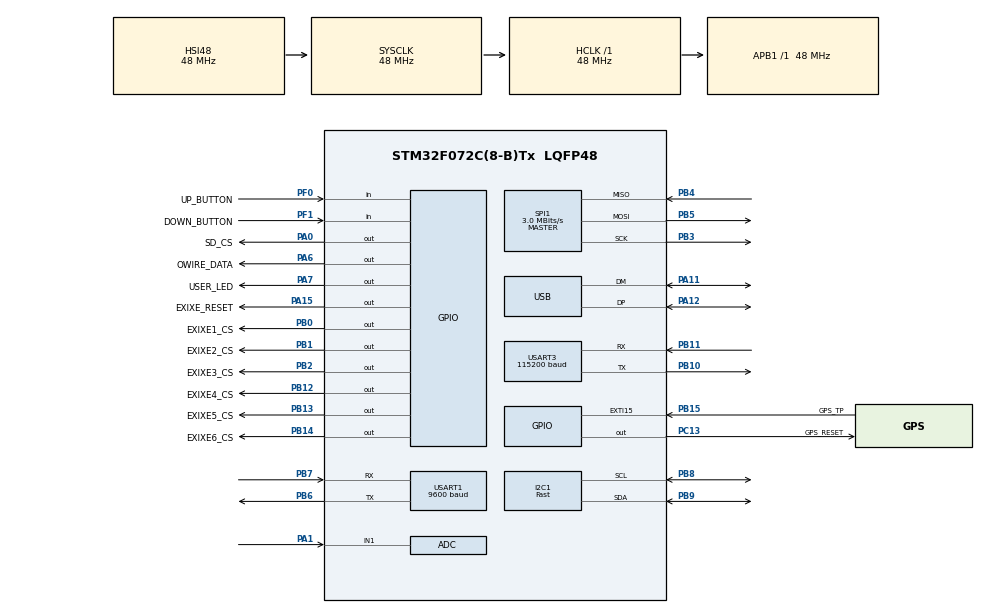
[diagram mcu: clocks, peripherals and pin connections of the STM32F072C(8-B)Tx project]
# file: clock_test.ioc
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ADC.ClockPrescaler=ADC_CLOCK_ASYNC_DIV1
ADC.ContinuousConvMode=DISABLE
ADC.DMAContinuousRequests=DISABLE
ADC.DataAlign=ADC_DATAALIGN_RIGHT
ADC.DiscontinuousConvMode=DISABLE
ADC.EOCSelection=ADC_EOC_SINGLE_CONV
ADC.EnableAnalogWatchDog=false
ADC.ExternalTrigConv=ADC_SOFTWARE_START
ADC.ExternalTrigConvEdge=ADC_EXTERNALTRIGCONVEDGE_NONE
ADC.LowPowerAutoPowerOff=DISABLE
ADC.LowPowerAutoWait=DISABLE
ADC.Overrun=ADC_OVR_DATA_PRESERVED
ADC.Resolution=ADC_RESOLUTION_12B
ADC.SamplingTime=ADC_SAMPLETIME_239CYCLES_5
ADC.ScanConvMode=ADC_SCAN_DIRECTION_FORWARD
FREERTOS.HEAP_NUMBER=1
FREERTOS.Tasks01=defaultTask,-3,64,StartDefaultTask,Default,NULL,Dynamic,NULL,NULL
FREERTOS.configENABLE_BACKWARD_COMPATIBILITY=0
FREERTOS.configMINIMAL_STACK_SIZE=64
FREERTOS.configTOTAL_HEAP_SIZE=4096
FREERTOS.configUSE_MUTEXES=0
FREERTOS.configUSE_TASK_NOTIFICATIONS=0
I2C1.I2C_Speed_Mode=I2C_Fast
I2C1.Timing=0x2010091A
IWDG.Prescaler=IWDG_PRESCALER_32
IWDG.Reload=2048
IWDG.Window=2048
Mcu.Family=STM32F0
Mcu.Name=STM32F072C(8-B)Tx
Mcu.Package=LQFP48
NVIC.EXTI4_15_IRQn=true\:3\:0\:false\:false\:true\:true
NVIC.TIM7_IRQn=true\:0\:0\:false\:false\:true\:false
NVIC.TimeBase=TIM7_IRQn
NVIC.TimeBaseIP=TIM7
NVIC.USART1_IRQn=true\:3\:0\:false\:false\:true\:true
NVIC.USB_IRQn=true\:3\:0\:false\:false\:true\:true
PA0.GPIO_Label=SD_CS
PA0.GPIO_ModeDefaultOutputPP=GPIO_MODE_OUTPUT_PP
PA0.PinState=GPIO_PIN_SET
PA0.Signal=GPIO_Output
PA1.Mode=IN1
PA1.Signal=ADC_IN1
PA11.Mode=Device
PA11.Signal=USB_DM
PA12.Mode=Device
PA12.Signal=USB_DP
PA13.Mode=Serial_Wire
PA13.Signal=SYS_SWDIO
PA14.Mode=Serial_Wire
PA14.Signal=SYS_SWCLK
PA15.GPIO_Label=EXIXE_RESET
PA15.GPIO_ModeDefaultOutputPP=GPIO_MODE_OUTPUT_OD
PA15.PinState=GPIO_PIN_SET
PA15.Signal=GPIO_Output
PA6.GPIO_Label=OWIRE_DATA
PA6.GPIO_ModeDefaultOutputPP=GPIO_MODE_OUTPUT_OD
PA6.PinState=GPIO_PIN_SET
PA6.Signal=GPIO_Output
PA7.GPIO_Label=USER_LED
PA7.PinState=GPIO_PIN_SET
PA7.Signal=GPIO_Output
PB0.GPIO_Label=EXIXE1_CS
PB0.PinState=GPIO_PIN_SET
PB0.Signal=GPIO_Output
PB1.GPIO_Label=EXIXE2_CS
PB1.PinState=GPIO_PIN_SET
PB1.Signal=GPIO_Output
PB10.Mode=Asynchronous
PB10.Signal=USART3_TX
PB11.Mode=Asynchronous
PB11.Signal=USART3_RX
PB12.GPIO_Label=EXIXE4_CS
PB12.PinState=GPIO_PIN_SET
PB12.Signal=GPIO_Output
PB13.GPIO_Label=EXIXE5_CS
PB13.PinState=GPIO_PIN_SET
PB13.Signal=GPIO_Output
PB14.GPIO_Label=EXIXE6_CS
PB14.PinState=GPIO_PIN_SET
PB14.Signal=GPIO_Output
PB15.GPIO_Label=GPS_TP
PB15.GPIO_ModeDefaultEXTI=GPIO_MODE_IT_RISING
PB15.Signal=GPXTI15
PB2.GPIO_Label=EXIXE3_CS
PB2.PinState=GPIO_PIN_SET
PB2.Signal=GPIO_Output
PB3.Mode=Full_Duplex_Master
PB3.Signal=SPI1_SCK
PB4.Mode=Full_Duplex_Master
PB4.Signal=SPI1_MISO
PB5.Mode=Full_Duplex_Master
PB5.Signal=SPI1_MOSI
PB6.Mode=Asynchronous
PB6.Signal=USART1_TX
PB7.Mode=Asynchronous
PB7.Signal=USART1_RX
PB8.Mode=I2C
PB8.Signal=I2C1_SCL
PB9.Mode=I2C
PB9.Signal=I2C1_SDA
PC13.GPIO_Label=GPS_RESET
PC13.PinState=GPIO_PIN_SET
PC13.Signal=GPIO_Output
PF0-OSC_IN.GPIO_Label=UP_BUTTON
PF0-OSC_IN.GPIO_PuPd=GPIO_PULLUP
PF0-OSC_IN.Signal=GPIO_Input
PF1-OSC_OUT.GPIO_Label=DOWN_BUTTON
PF1-OSC_OUT.GPIO_PuPd=GPIO_PULLUP
PF1-OSC_OUT.Signal=GPIO_Input
ProjectManager.HeapSize=0x200
ProjectManager.StackSize=0x400
ProjectManager.TargetToolchain=MDK-ARM V5
RCC.AHBFreq_Value=48000000
RCC.APB1Freq_Value=48000000
RCC.APB1TimFreq_Value=48000000
RCC.HCLKFreq_Value=48000000
RCC.I2c1ClockSelection=RCC_I2C1CLKSOURCE_SYSCLK
RCC.PLLMUL=RCC_PLL_MUL6
RCC.SYSCLKFreq_VALUE=48000000
RCC.SYSCLKSource=RCC_SYSCLKSOURCE_HSI48
RCC.Usart1ClockSelection=RCC_USART1CLKSOURCE_SYSCLK
RTC.Format=RTC_FORMAT_BIN
SPI1.BaudRatePrescaler=SPI_BAUDRATEPRESCALER_16
SPI1.CalculateBaudRate=3.0 MBits/s
SPI1.DataSize=SPI_DATASIZE_8BIT
SPI1.Direction=SPI_DIRECTION_2LINES
SPI1.Mode=SPI_MODE_MASTER
SPI1.VirtualType=VM_MASTER
TIM2.Period=4294967295
TIM2.Prescaler=47
USART1.BaudRate=9600
USART1.SwapParam=UART_ADVFEATURE_SWAP_ENABLE
USART1.VirtualMode-Asynchronous=VM_ASYNC
USART1.WordLength=WORDLENGTH_8B
USART3.BaudRate=115200
USART3.VirtualMode-Asynchronous=VM_ASYNC
USART3.WordLength=WORDLENGTH_8B
USB_DEVICE.CLASS_NAME_FS=CDC
USB_DEVICE.VirtualMode=Cdc
USB_DEVICE.VirtualModeFS=Cdc_FS
VP_FREERTOS_VS_ENABLE.Mode=Enabled
VP_IWDG_VS_IWDG.Mode=IWDG_Activate
VP_RTC_VS_RTC_Activate.Mode=RTC_Enabled
VP_RTC_VS_RTC_Calendar.Mode=RTC_Calendar
VP_SYS_VS_tim7.Mode=TIM7
VP_TIM2_VS_ClockSourceINT.Mode=Internal
VP_USB_DEVICE_VS_USB_DEVICE_CDC_FS.Mode=CDC_FS
board=clock_test

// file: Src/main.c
/**
  ******************************************************************************
  * File Name          : main.c
  * Description        : Main program body
  ******************************************************************************
  * This notice applies to any and all portions of this file
  * that are not between comment pairs USER CODE BEGIN and
  * USER CODE END. Other portions of this file, whether
  * inserted by the user or by software development tools
  * are owned by their respective copyright owners.
  *
  * Copyright (c) 2017 STMicroelectronics International N.V.
  * All rights reserved.
  *
  * Redistribution and use in source and binary forms, with or without
  * modification, are permitted, provided that the following conditions are met:
  *
  * 1. Redistribution of source code must retain the above copyright notice,
  *    this list of conditions and the following disclaimer.
  * 2. Redistributions in binary form must reproduce the above copyright notice,
  *    this list of conditions and the following disclaimer in the documentation
  *    and/or other materials provided with the distribution.
  * 3. Neither the name of STMicroelectronics nor the names of other
  *    contributors to this software may be used to endorse or promote products
  *    derived from this software without specific written permission.
  * 4. This software, including modifications and/or derivative works of this
  *    software, must execute solely and exclusively on microcontroller or
  *    microprocessor devices manufactured by or for STMicroelectronics.
  * 5. Redistribution and use of this software other than as permitted under
  *    this license is void and will automatically terminate your rights under
  *    this license.
  *
  * THIS SOFTWARE IS PROVIDED BY STMICROELECTRONICS AND CONTRIBUTORS "AS IS"
  * AND ANY EXPRESS, IMPLIED OR STATUTORY WARRANTIES, INCLUDING, BUT NOT
  * LIMITED TO, THE IMPLIED WARRANTIES OF MERCHANTABILITY, FITNESS FOR A
  * PARTICULAR PURPOSE AND NON-INFRINGEMENT OF THIRD PARTY INTELLECTUAL PROPERTY
  * RIGHTS ARE DISCLAIMED TO THE FULLEST EXTENT PERMITTED BY LAW. IN NO EVENT
  * SHALL STMICROELECTRONICS OR CONTRIBUTORS BE LIABLE FOR ANY DIRECT, INDIRECT,
  * INCIDENTAL, SPECIAL, EXEMPLARY, OR CONSEQUENTIAL DAMAGES (INCLUDING, BUT NOT
  * LIMITED TO, PROCUREMENT OF SUBSTITUTE GOODS OR SERVICES; LOSS OF USE, DATA,
  * OR PROFITS; OR BUSINESS INTERRUPTION) HOWEVER CAUSED AND ON ANY THEORY OF
  * LIABILITY, WHETHER IN CONTRACT, STRICT LIABILITY, OR TORT (INCLUDING
  * NEGLIGENCE OR OTHERWISE) ARISING IN ANY WAY OUT OF THE USE OF THIS SOFTWARE,
  * EVEN IF ADVISED OF THE POSSIBILITY OF SUCH DAMAGE.
  *
  ******************************************************************************
  */
#include "main.h"
#include "stm32f0xx_hal.h"
#include "cmsis_os.h"
#include "usb_device.h"

/* USER CODE BEGIN Includes */
#include "shared.h"
#include "my_usb.h"
#include "helpers.h"
#include "my_tasks.h"
#include "delay_us.h"
/* USER CODE END Includes */

ADC_HandleTypeDef hadc;

I2C_HandleTypeDef hi2c1;

IWDG_HandleTypeDef hiwdg;

RTC_HandleTypeDef hrtc;

SPI_HandleTypeDef hspi1;

TIM_HandleTypeDef htim2;

UART_HandleTypeDef huart1;
UART_HandleTypeDef huart3;

osThreadId defaultTaskHandle;

/* USER CODE BEGIN PV */
/* Private variables ---------------------------------------------------------*/
/* USER CODE END PV */

void SystemClock_Config(void);
static void MX_GPIO_Init(void);
static void MX_SPI1_Init(void);
static void MX_USART3_UART_Init(void);
static void MX_ADC_Init(void);
static void MX_TIM2_Init(void);
static void MX_I2C1_Init(void);
static void MX_USART1_UART_Init(void);
static void MX_RTC_Init(void);
static void MX_IWDG_Init(void);
void StartDefaultTask(void const * argument);

/* USER CODE BEGIN PFP */
/* Private function prototypes -----------------------------------------------*/

/* USER CODE END PFP */

/* USER CODE BEGIN 0 */
// int fputc(int ch, FILE *f)
// {
//   my_usb_putchar((uint8_t)ch);
//   return ch;
// }

int fputc(int ch, FILE *f)
{
    HAL_UART_Transmit(&huart3, (unsigned char *)&ch, 1, 100);
    return ch;
}
/* USER CODE END 0 */

int main(void)
{

  /* MCU Configuration----------------------------------------------------------*/

  /* Reset of all peripherals, Initializes the Flash interface and the Systick. */
  HAL_Init();

  /* Configure the system clock */
  SystemClock_Config();

  /* Initialize all configured peripherals */
  MX_GPIO_Init();
  MX_SPI1_Init();
  MX_USART3_UART_Init();
  MX_ADC_Init();
  MX_TIM2_Init();
  MX_I2C1_Init();
  MX_USART1_UART_Init();
  MX_RTC_Init();
  MX_IWDG_Init();

  /* USER CODE BEGIN 2 */
  MX_USB_DEVICE_Init();
  my_usb_init();
  delay_us_init(&htim2);
  HAL_IWDG_Refresh(iwdg_ptr);
  // while(1)
  // {
  //   printf("hello world\n");
  //   HAL_IWDG_Refresh(iwdg_ptr);
  //   HAL_Delay(500);
  // }
  setup_task();
  HAL_IWDG_Refresh(iwdg_ptr);
  /* USER CODE END 2 */

  /* Create the thread(s) */
  /* definition and creation of defaultTask */
  osThreadDef(defaultTask, StartDefaultTask, osPriorityIdle, 0, 64);
  defaultTaskHandle = osThreadCreate(osThread(defaultTask), NULL);

  /* USER CODE BEGIN RTOS_THREADS */
  osThreadDef(animation_task, animation_task_start, osPriorityNormal, 0, 128);
  osThreadCreate(osThread(animation_task), NULL);
  osThreadDef(test_task, test_task_start, osPriorityNormal, 0, 128);
  osThreadCreate(osThread(test_task), NULL);

  osThreadDef(gps_temp_parse_task, gps_temp_parse_task_start, osPriorityNormal, 0, 128);
  osThreadCreate(osThread(gps_temp_parse_task), NULL);
  /* add threads, ... */
  /* USER CODE END RTOS_THREADS */

  /* Start scheduler */
  osKernelStart();

  /* We should never get here as control is now taken by the scheduler */

  /* Infinite loop */
  while (1)
  {

  /* USER CODE BEGIN 3 */
    HAL_Delay(1000);
    HAL_NVIC_SystemReset();
  }
  /* USER CODE END 3 */

}

/** System Clock Configuration
*/
void SystemClock_Config(void)
{

  RCC_OscInitTypeDef RCC_OscInitStruct;
  RCC_ClkInitTypeDef RCC_ClkInitStruct;
  RCC_PeriphCLKInitTypeDef PeriphClkInit;

    /**Initializes the CPU, AHB and APB busses clocks
    */
  RCC_OscInitStruct.OscillatorType = RCC_OSCILLATORTYPE_HSI14|RCC_OSCILLATORTYPE_HSI48
                              |RCC_OSCILLATORTYPE_LSI;
  RCC_OscInitStruct.HSI48State = RCC_HSI48_ON;
  RCC_OscInitStruct.HSI14State = RCC_HSI14_ON;
  RCC_OscInitStruct.HSI14CalibrationValue = 16;
  RCC_OscInitStruct.LSIState = RCC_LSI_ON;
  RCC_OscInitStruct.PLL.PLLState = RCC_PLL_NONE;
  if (HAL_RCC_OscConfig(&RCC_OscInitStruct) != HAL_OK)
  {
    _Error_Handler(__FILE__, __LINE__);
  }

    /**Initializes the CPU, AHB and APB busses clocks
    */
  RCC_ClkInitStruct.ClockType = RCC_CLOCKTYPE_HCLK|RCC_CLOCKTYPE_SYSCLK
                              |RCC_CLOCKTYPE_PCLK1;
  RCC_ClkInitStruct.SYSCLKSource = RCC_SYSCLKSOURCE_HSI48;
  RCC_ClkInitStruct.AHBCLKDivider = RCC_SYSCLK_DIV1;
  RCC_ClkInitStruct.APB1CLKDivider = RCC_HCLK_DIV1;

  if (HAL_RCC_ClockConfig(&RCC_ClkInitStruct, FLASH_LATENCY_1) != HAL_OK)
  {
    _Error_Handler(__FILE__, __LINE__);
  }

  PeriphClkInit.PeriphClockSelection = RCC_PERIPHCLK_USB|RCC_PERIPHCLK_USART1
                              |RCC_PERIPHCLK_I2C1|RCC_PERIPHCLK_RTC;
  PeriphClkInit.Usart1ClockSelection = RCC_USART1CLKSOURCE_SYSCLK;
  PeriphClkInit.I2c1ClockSelection = RCC_I2C1CLKSOURCE_SYSCLK;
  PeriphClkInit.RTCClockSelection = RCC_RTCCLKSOURCE_LSI;
  PeriphClkInit.UsbClockSelection = RCC_USBCLKSOURCE_HSI48;

  if (HAL_RCCEx_PeriphCLKConfig(&PeriphClkInit) != HAL_OK)
  {
    _Error_Handler(__FILE__, __LINE__);
  }

    /**Configure the Systick interrupt time
    */
  HAL_SYSTICK_Config(HAL_RCC_GetHCLKFreq()/1000);

    /**Configure the Systick
    */
  HAL_SYSTICK_CLKSourceConfig(SYSTICK_CLKSOURCE_HCLK);

  /* SysTick_IRQn interrupt configuration */
  HAL_NVIC_SetPriority(SysTick_IRQn, 3, 0);
}

/* ADC init function */
static void MX_ADC_Init(void)
{

  ADC_ChannelConfTypeDef sConfig;

    /**Configure the global features of the ADC (Clock, Resolution, Data Alignment and number of conversion)
    */
  hadc.Instance = ADC1;
  hadc.Init.ClockPrescaler = ADC_CLOCK_ASYNC_DIV1;
  hadc.Init.Resolution = ADC_RESOLUTION_12B;
  hadc.Init.DataAlign = ADC_DATAALIGN_RIGHT;
  hadc.Init.ScanConvMode = ADC_SCAN_DIRECTION_FORWARD;
  hadc.Init.EOCSelection = ADC_EOC_SINGLE_CONV;
  hadc.Init.LowPowerAutoWait = DISABLE;
  hadc.Init.LowPowerAutoPowerOff = DISABLE;
  hadc.Init.ContinuousConvMode = DISABLE;
  hadc.Init.DiscontinuousConvMode = DISABLE;
  hadc.Init.ExternalTrigConv = ADC_SOFTWARE_START;
  hadc.Init.ExternalTrigConvEdge = ADC_EXTERNALTRIGCONVEDGE_NONE;
  hadc.Init.DMAContinuousRequests = DISABLE;
  hadc.Init.Overrun = ADC_OVR_DATA_PRESERVED;
  if (HAL_ADC_Init(&hadc) != HAL_OK)
  {
    _Error_Handler(__FILE__, __LINE__);
  }

    /**Configure for the selected ADC regular channel to be converted.
    */
  sConfig.Channel = ADC_CHANNEL_1;
  sConfig.Rank = ADC_RANK_CHANNEL_NUMBER;
  sConfig.SamplingTime = ADC_SAMPLETIME_239CYCLES_5;
  if (HAL_ADC_ConfigChannel(&hadc, &sConfig) != HAL_OK)
  {
    _Error_Handler(__FILE__, __LINE__);
  }

}

/* I2C1 init function */
static void MX_I2C1_Init(void)
{

  hi2c1.Instance = I2C1;
  hi2c1.Init.Timing = 0x2010091A;
  hi2c1.Init.OwnAddress1 = 0;
  hi2c1.Init.AddressingMode = I2C_ADDRESSINGMODE_7BIT;
  hi2c1.Init.DualAddressMode = I2C_DUALADDRESS_DISABLE;
  hi2c1.Init.OwnAddress2 = 0;
  hi2c1.Init.OwnAddress2Masks = I2C_OA2_NOMASK;
  hi2c1.Init.GeneralCallMode = I2C_GENERALCALL_DISABLE;
  hi2c1.Init.NoStretchMode = I2C_NOSTRETCH_DISABLE;
  if (HAL_I2C_Init(&hi2c1) != HAL_OK)
  {
    _Error_Handler(__FILE__, __LINE__);
  }

    /**Configure Analogue filter
    */
  if (HAL_I2CEx_ConfigAnalogFilter(&hi2c1, I2C_ANALOGFILTER_ENABLE) != HAL_OK)
  {
    _Error_Handler(__FILE__, __LINE__);
  }

    /**Configure Digital filter
    */
  if (HAL_I2CEx_ConfigDigitalFilter(&hi2c1, 0) != HAL_OK)
  {
    _Error_Handler(__FILE__, __LINE__);
  }

}

/* IWDG init function */
static void MX_IWDG_Init(void)
{

  hiwdg.Instance = IWDG;
  hiwdg.Init.Prescaler = IWDG_PRESCALER_32;
  hiwdg.Init.Window = 2048;
  hiwdg.Init.Reload = 2048;
  if (HAL_IWDG_Init(&hiwdg) != HAL_OK)
  {
    _Error_Handler(__FILE__, __LINE__);
  }

}

/* RTC init function */
static void MX_RTC_Init(void)
{

  RTC_TimeTypeDef sTime;
  RTC_DateTypeDef sDate;

    /**Initialize RTC Only
    */
  hrtc.Instance = RTC;
  hrtc.Init.HourFormat = RTC_HOURFORMAT_24;
  hrtc.Init.AsynchPrediv = 127;
  hrtc.Init.SynchPrediv = 255;
  hrtc.Init.OutPut = RTC_OUTPUT_DISABLE;
  hrtc.Init.OutPutPolarity = RTC_OUTPUT_POLARITY_HIGH;
  hrtc.Init.OutPutType = RTC_OUTPUT_TYPE_OPENDRAIN;
  if (HAL_RTC_Init(&hrtc) != HAL_OK)
  {
    _Error_Handler(__FILE__, __LINE__);
  }

    /**Initialize RTC and set the Time and Date
    */
  sTime.Hours = 0;
  sTime.Minutes = 0;
  sTime.Seconds = 0;
  sTime.DayLightSaving = RTC_DAYLIGHTSAVING_NONE;
  sTime.StoreOperation = RTC_STOREOPERATION_RESET;
  if (HAL_RTC_SetTime(&hrtc, &sTime, RTC_FORMAT_BIN) != HAL_OK)
  {
    _Error_Handler(__FILE__, __LINE__);
  }

  sDate.WeekDay = RTC_WEEKDAY_MONDAY;
  sDate.Month = RTC_MONTH_JANUARY;
  sDate.Date = 1;
  sDate.Year = 0;

  if (HAL_RTC_SetDate(&hrtc, &sDate, RTC_FORMAT_BIN) != HAL_OK)
  {
    _Error_Handler(__FILE__, __LINE__);
  }

  if(HAL_RTCEx_BKUPRead(&hrtc, RTC_BKP_DR0) != 0x32F2){
    HAL_RTCEx_BKUPWrite(&hrtc,RTC_BKP_DR0,0x32F2);
  }

}

/* SPI1 init function */
static void MX_SPI1_Init(void)
{

  hspi1.Instance = SPI1;
  hspi1.Init.Mode = SPI_MODE_MASTER;
  hspi1.Init.Direction = SPI_DIRECTION_2LINES;
  hspi1.Init.DataSize = SPI_DATASIZE_8BIT;
  hspi1.Init.CLKPolarity = SPI_POLARITY_LOW;
  hspi1.Init.CLKPhase = SPI_PHASE_1EDGE;
  hspi1.Init.NSS = SPI_NSS_SOFT;
  hspi1.Init.BaudRatePrescaler = SPI_BAUDRATEPRESCALER_16;
  hspi1.Init.FirstBit = SPI_FIRSTBIT_MSB;
  hspi1.Init.TIMode = SPI_TIMODE_DISABLE;
  hspi1.Init.CRCCalculation = SPI_CRCCALCULATION_DISABLE;
  hspi1.Init.CRCPolynomial = 7;
  hspi1.Init.CRCLength = SPI_CRC_LENGTH_DATASIZE;
  hspi1.Init.NSSPMode = SPI_NSS_PULSE_ENABLE;
  if (HAL_SPI_Init(&hspi1) != HAL_OK)
  {
    _Error_Handler(__FILE__, __LINE__);
  }

}

/* TIM2 init function */
static void MX_TIM2_Init(void)
{

  TIM_ClockConfigTypeDef sClockSourceConfig;
  TIM_MasterConfigTypeDef sMasterConfig;

  htim2.Instance = TIM2;
  htim2.Init.Prescaler = 47;
  htim2.Init.CounterMode = TIM_COUNTERMODE_UP;
  htim2.Init.Period = 4294967295;
  htim2.Init.ClockDivision = TIM_CLOCKDIVISION_DIV1;
  htim2.Init.AutoReloadPreload = TIM_AUTORELOAD_PRELOAD_DISABLE;
  if (HAL_TIM_Base_Init(&htim2) != HAL_OK)
  {
    _Error_Handler(__FILE__, __LINE__);
  }

  sClockSourceConfig.ClockSource = TIM_CLOCKSOURCE_INTERNAL;
  if (HAL_TIM_ConfigClockSource(&htim2, &sClockSourceConfig) != HAL_OK)
  {
    _Error_Handler(__FILE__, __LINE__);
  }

  sMasterConfig.MasterOutputTrigger = TIM_TRGO_RESET;
  sMasterConfig.MasterSlaveMode = TIM_MASTERSLAVEMODE_DISABLE;
  if (HAL_TIMEx_MasterConfigSynchronization(&htim2, &sMasterConfig) != HAL_OK)
  {
    _Error_Handler(__FILE__, __LINE__);
  }

}

/* USART1 init function */
static void MX_USART1_UART_Init(void)
{

  huart1.Instance = USART1;
  huart1.Init.BaudRate = 9600;
  huart1.Init.WordLength = UART_WORDLENGTH_8B;
  huart1.Init.StopBits = UART_STOPBITS_1;
  huart1.Init.Parity = UART_PARITY_NONE;
  huart1.Init.Mode = UART_MODE_TX_RX;
  huart1.Init.HwFlowCtl = UART_HWCONTROL_NONE;
  huart1.Init.OverSampling = UART_OVERSAMPLING_16;
  huart1.Init.OneBitSampling = UART_ONE_BIT_SAMPLE_DISABLE;
  huart1.AdvancedInit.AdvFeatureInit = UART_ADVFEATURE_SWAP_INIT;
  huart1.AdvancedInit.Swap = UART_ADVFEATURE_SWAP_ENABLE;
  if (HAL_UART_Init(&huart1) != HAL_OK)
  {
    _Error_Handler(__FILE__, __LINE__);
  }

}

/* USART3 init function */
static void MX_USART3_UART_Init(void)
{

  huart3.Instance = USART3;
  huart3.Init.BaudRate = 115200;
  huart3.Init.WordLength = UART_WORDLENGTH_8B;
  huart3.Init.StopBits = UART_STOPBITS_1;
  huart3.Init.Parity = UART_PARITY_NONE;
  huart3.Init.Mode = UART_MODE_TX_RX;
  huart3.Init.HwFlowCtl = UART_HWCONTROL_NONE;
  huart3.Init.OverSampling = UART_OVERSAMPLING_16;
  huart3.Init.OneBitSampling = UART_ONE_BIT_SAMPLE_DISABLE;
  huart3.AdvancedInit.AdvFeatureInit = UART_ADVFEATURE_NO_INIT;
  if (HAL_UART_Init(&huart3) != HAL_OK)
  {
    _Error_Handler(__FILE__, __LINE__);
  }

}

/** Configure pins as
        * Analog
        * Input
        * Output
        * EVENT_OUT
        * EXTI
*/
static void MX_GPIO_Init(void)
{

  GPIO_InitTypeDef GPIO_InitStruct;

  /* GPIO Ports Clock Enable */
  __HAL_RCC_GPIOC_CLK_ENABLE();
  __HAL_RCC_GPIOF_CLK_ENABLE();
  __HAL_RCC_GPIOA_CLK_ENABLE();
  __HAL_RCC_GPIOB_CLK_ENABLE();

  /*Configure GPIO pin Output Level */
  HAL_GPIO_WritePin(GPS_RESET_GPIO_Port, GPS_RESET_Pin, GPIO_PIN_SET);

  /*Configure GPIO pin Output Level */
  HAL_GPIO_WritePin(GPIOA, SD_CS_Pin|OWIRE_DATA_Pin|USER_LED_Pin|EXIXE_RESET_Pin, GPIO_PIN_SET);

  /*Configure GPIO pin Output Level */
  HAL_GPIO_WritePin(GPIOB, EXIXE1_CS_Pin|EXIXE2_CS_Pin|EXIXE3_CS_Pin|EXIXE4_CS_Pin
                          |EXIXE5_CS_Pin|EXIXE6_CS_Pin, GPIO_PIN_SET);

  /*Configure GPIO pin : GPS_RESET_Pin */
  GPIO_InitStruct.Pin = GPS_RESET_Pin;
  GPIO_InitStruct.Mode = GPIO_MODE_OUTPUT_PP;
  GPIO_InitStruct.Pull = GPIO_NOPULL;
  GPIO_InitStruct.Speed = GPIO_SPEED_FREQ_LOW;
  HAL_GPIO_Init(GPS_RESET_GPIO_Port, &GPIO_InitStruct);

  /*Configure GPIO pins : UP_BUTTON_Pin DOWN_BUTTON_Pin */
  GPIO_InitStruct.Pin = UP_BUTTON_Pin|DOWN_BUTTON_Pin;
  GPIO_InitStruct.Mode = GPIO_MODE_INPUT;
  GPIO_InitStruct.Pull = GPIO_PULLUP;
  HAL_GPIO_Init(GPIOF, &GPIO_InitStruct);

  /*Configure GPIO pins : SD_CS_Pin USER_LED_Pin */
  GPIO_InitStruct.Pin = SD_CS_Pin|USER_LED_Pin;
  GPIO_InitStruct.Mode = GPIO_MODE_OUTPUT_PP;
  GPIO_InitStruct.Pull = GPIO_NOPULL;
  GPIO_InitStruct.Speed = GPIO_SPEED_FREQ_LOW;
  HAL_GPIO_Init(GPIOA, &GPIO_InitStruct);

  /*Configure GPIO pins : OWIRE_DATA_Pin EXIXE_RESET_Pin */
  GPIO_InitStruct.Pin = OWIRE_DATA_Pin|EXIXE_RESET_Pin;
  GPIO_InitStruct.Mode = GPIO_MODE_OUTPUT_OD;
  GPIO_InitStruct.Pull = GPIO_NOPULL;
  GPIO_InitStruct.Speed = GPIO_SPEED_FREQ_LOW;
  HAL_GPIO_Init(GPIOA, &GPIO_InitStruct);

  /*Configure GPIO pins : EXIXE1_CS_Pin EXIXE2_CS_Pin EXIXE3_CS_Pin EXIXE4_CS_Pin
                           EXIXE5_CS_Pin EXIXE6_CS_Pin */
  GPIO_InitStruct.Pin = EXIXE1_CS_Pin|EXIXE2_CS_Pin|EXIXE3_CS_Pin|EXIXE4_CS_Pin
                          |EXIXE5_CS_Pin|EXIXE6_CS_Pin;
  GPIO_InitStruct.Mode = GPIO_MODE_OUTPUT_PP;
  GPIO_InitStruct.Pull = GPIO_NOPULL;
  GPIO_InitStruct.Speed = GPIO_SPEED_FREQ_LOW;
  HAL_GPIO_Init(GPIOB, &GPIO_InitStruct);

  /*Configure GPIO pin : GPS_TP_Pin */
  GPIO_InitStruct.Pin = GPS_TP_Pin;
  GPIO_InitStruct.Mode = GPIO_MODE_IT_RISING;
  GPIO_InitStruct.Pull = GPIO_NOPULL;
  HAL_GPIO_Init(GPS_TP_GPIO_Port, &GPIO_InitStruct);

  /* EXTI interrupt init*/
  HAL_NVIC_SetPriority(EXTI4_15_IRQn, 3, 0);
  HAL_NVIC_EnableIRQ(EXTI4_15_IRQn);

}

/* USER CODE BEGIN 4 */

void HAL_UART_RxCpltCallback(UART_HandleTypeDef *huart)
{
  // HAL_GPIO_TogglePin(USER_LED_GPIO_Port, USER_LED_Pin);
  if(huart->Instance==USART1)
  {
      linear_buf_add(&gps_lb, gps_byte_buf[0]);
      HAL_UART_Receive_IT(&huart1, gps_byte_buf, 1);
  }
}

void HAL_UART_ErrorCallback(UART_HandleTypeDef *huart)
{
  if(huart->Instance==USART1)
      HAL_UART_Receive_IT(&huart1, gps_byte_buf, 1);
}

/* USER CODE END 4 */

/* StartDefaultTask function */
void StartDefaultTask(void const * argument)
{

  /* USER CODE BEGIN 5 */
  /* Infinite loop */
  for(;;)
  {
    osDelay(500);
  }
  /* USER CODE END 5 */
}

void HAL_TIM_PeriodElapsedCallback(TIM_HandleTypeDef *htim)
{
  if (htim->Instance == TIM7) {
    HAL_IncTick();
  }
}

void _Error_Handler(char * file, int line)
{
  while(1)
  {
  }
}

/************************ (C) COPYRIGHT STMicroelectronics *****END OF FILE****/
